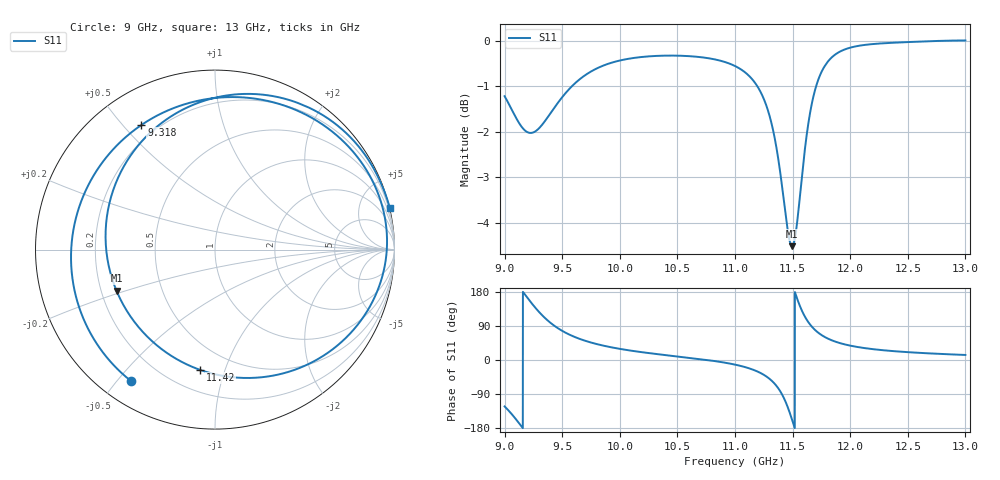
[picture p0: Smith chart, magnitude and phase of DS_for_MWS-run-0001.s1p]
! TOUCHSTONE file generated by CST DESIGN STUDIO
! Date and time: Tue Feb  4 13:42:51 2025
! Project name: C:\Work\MatlabApps\UnitCellOptimizationMatlab\CST\unitcell.cst
! Tree item: Tasks\Sweep1\SPara1\S-Parameters
! Header version: 2024
! Port assignment regex: !\s*Touchstone port\s*([0-9]+)\s*=\s*(CST MWS port|CST DES external port|CST DES block port)\s*(.+)\s* \(\"(.*)\"\)(\s*mode\s*([0-9]+))?.*
! Touchstone port assignment:
! Touchstone port 1 = CST DES external port 1 ("")
# GHz S MA R 50
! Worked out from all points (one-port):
!   4001 points, 9 GHz to 13 GHz, reference 50 ohm
!   lowest |S11| = -4.5 dB at 11.49 GHz (marker M1), VSWR 3.93, Z = 13.2 - j9.37 ohm
!   |S11| at or under -10 dB: nowhere
!   S11 on the Smith chart (normalised r, x): 9 GHz: 0.09, -0.54; 9.318 GHz: 0.14, +0.56; 11.42 GHz: 0.34, -0.83; 13 GHz: -0.02, +8.57
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9  0.869 -122.5
9.092  0.826 -153.9
9.158  0.8013 -179.8
9.227  0.7919 152.7
9.318  0.8063 120.6
9.4  0.833 97.7
9.5  0.8669 76.9
9.713  0.9189 49.4
10  0.9511 29.4
10.5  0.9629 9.4
11  0.938 -12.2
11.152  0.9063 -25.1
11.259  0.8575 -40.8
11.342  0.7847 -61.9
11.419  0.6754 -97.0
11.457  0.62 -123.8
11.495  0.5947 -157.3
11.5  0.5952 -162.0
11.54  0.6327 161.4
11.585  0.7177 127.4
11.619  0.7822 108.1
11.656  0.839 92.0
11.723  0.9062 71.9
11.797  0.945 57.8
11.886  0.9687 46.9
12  0.9825 37.9
12.5  0.9965 20.7
13  1.001 13.3
